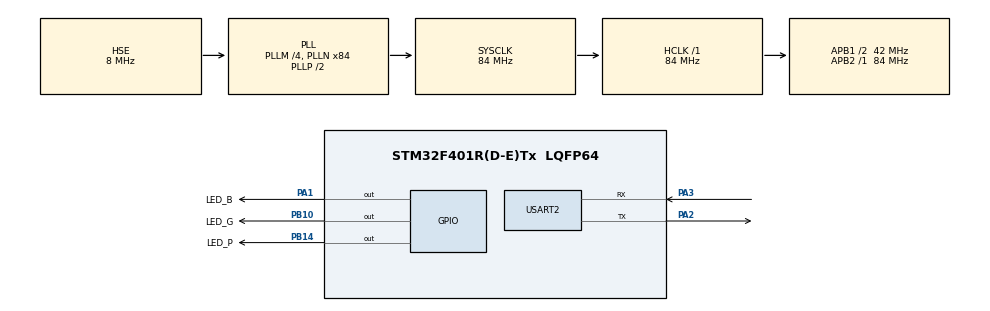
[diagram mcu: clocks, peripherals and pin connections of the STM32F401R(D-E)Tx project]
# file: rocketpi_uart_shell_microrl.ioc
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Mcu.Family=STM32F4
Mcu.Name=STM32F401R(D-E)Tx
Mcu.Package=LQFP64
NVIC.PriorityGroup=NVIC_PRIORITYGROUP_4
NVIC.USART2_IRQn=true\:0\:0\:false\:false\:true\:true\:true\:true
PA1.GPIO_Label=LED_B
PA1.PinState=GPIO_PIN_SET
PA1.Signal=GPIO_Output
PA13.Mode=Serial_Wire
PA13.Signal=SYS_JTMS-SWDIO
PA14.Mode=Serial_Wire
PA14.Signal=SYS_JTCK-SWCLK
PA2.Mode=Asynchronous
PA2.Signal=USART2_TX
PA3.Mode=Asynchronous
PA3.Signal=USART2_RX
PB10.GPIO_Label=LED_G
PB10.PinState=GPIO_PIN_SET
PB10.Signal=GPIO_Output
PB14.GPIO_Label=LED_P
PB14.PinState=GPIO_PIN_SET
PB14.Signal=GPIO_Output
PH0\ -\ OSC_IN.Mode=HSE-External-Oscillator
PH0\ -\ OSC_IN.Signal=RCC_OSC_IN
PH1\ -\ OSC_OUT.Mode=HSE-External-Oscillator
PH1\ -\ OSC_OUT.Signal=RCC_OSC_OUT
ProjectManager.HeapSize=0x800
ProjectManager.StackSize=0x800
ProjectManager.TargetToolchain=MDK-ARM V5.27
RCC.48MHZClocksFreq_Value=42000000
RCC.AHBFreq_Value=84000000
RCC.APB1CLKDivider=RCC_HCLK_DIV2
RCC.APB1Freq_Value=42000000
RCC.APB1TimFreq_Value=84000000
RCC.APB2Freq_Value=84000000
RCC.APB2TimFreq_Value=84000000
RCC.CortexFreq_Value=84000000
RCC.HCLKFreq_Value=84000000
RCC.HSE_VALUE=8000000
RCC.HSI_VALUE=16000000
RCC.LSE_VALUE=32768
RCC.PLLM=4
RCC.PLLN=84
RCC.PLLSourceVirtual=RCC_PLLSOURCE_HSE
RCC.SYSCLKFreq_VALUE=84000000
RCC.SYSCLKSource=RCC_SYSCLKSOURCE_PLLCLK
RCC.VCOOutputFreq_Value=168000000
USART2.VirtualMode=VM_ASYNC
board=custom

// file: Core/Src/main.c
/* USER CODE BEGIN Header */
/**
  ******************************************************************************
  * @file           : main.c
  * @brief          : Main program body
  ******************************************************************************
  * @attention
  *
  * Copyright (c) 2025 STMicroelectronics.
  * All rights reserved.
  *
  * This software is licensed under terms that can be found in the LICENSE file
  * in the root directory of this software component.
  * If no LICENSE file comes with this software, it is provided AS-IS.
  *
  ******************************************************************************
  */
/* USER CODE END Header */
#include "main.h"
#include "usart.h"
#include "gpio.h"

/* USER CODE BEGIN Includes */
#include "microrl.h"
#include <string.h>
/* USER CODE END Includes */

/* USER CODE BEGIN PTD */
typedef struct {
  const char *name;
  const char *description;
} shell_cmd_desc_t;

typedef struct {
  const char *name;
  GPIO_TypeDef *port;
  uint16_t pin;
} led_desc_t;
/* USER CODE END PTD */

/* USER CODE BEGIN PD */
#define SHELL_RX_BUFFER_SIZE 128U
#define ARRAY_SIZE(x) (sizeof(x) / sizeof((x)[0]))
#define LED_ON_STATE GPIO_PIN_RESET
#define LED_OFF_STATE GPIO_PIN_SET
/* USER CODE END PD */

/* USER CODE BEGIN PV */
static microrl_t s_shell;
static uint8_t s_uart2_rx;
static volatile uint8_t s_shell_rx_buffer[SHELL_RX_BUFFER_SIZE];
static volatile uint16_t s_shell_rx_head;
static volatile uint16_t s_shell_rx_tail;

static const shell_cmd_desc_t kShellCmdTable[] = {
  {"help", "List available commands"},
  {"version", "Show shell information"},
  {"echo", "Echo back the provided text"},
  {"led", "Control on-board LEDs"},
};

static const led_desc_t kLedTable[] = {
  {"blue", LED_B_GPIO_Port, LED_B_Pin},
  {"green", LED_G_GPIO_Port, LED_G_Pin},
  {"pink", LED_P_GPIO_Port, LED_P_Pin},
};

static const char *kLedActionTable[] = {"on", "off", "toggle"};
static const char *s_shell_completion[_COMMAND_TOKEN_NMB + 1];
/* USER CODE END PV */

void SystemClock_Config(void);
/* USER CODE BEGIN PFP */
static void shell_print(const char *str);
static void shell_print_line(const char *text);
static void shell_show_banner(void);
static void shell_start_rx(void);
static void shell_queue_char(uint8_t value);
static void shell_process_input(void);
static int shell_execute(int argc, const char * const * argv);
static int shell_cmd_led(int argc, const char * const * argv);
static void shell_print_led_usage(void);
static int shell_str_casecmp(const char *lhs, const char *rhs);
static const led_desc_t *shell_find_led(const char *name);
static size_t shell_add_completion(const char *candidate, size_t index);
static int shell_prefix_match(const char *token, const char *candidate);
static char **shell_complete(int argc, const char * const * argv);
/* USER CODE END PFP */

/* USER CODE BEGIN 0 */
/* 通过 USART2 输出字符串（LF 自动转换为 CRLF） */
static void shell_print(const char *str)
{
  if ((str == NULL) || (huart2.gState == HAL_UART_STATE_RESET)) {
    return;
  }
  while (*str != '\0') {
    if (*str == '\n') {
      const uint8_t newline[2] = {'\r', '\n'};
      HAL_UART_Transmit(&huart2, (uint8_t *)newline, sizeof(newline), HAL_MAX_DELAY);
    } else {
      uint8_t ch = (uint8_t)(*str);
      HAL_UART_Transmit(&huart2, &ch, 1, HAL_MAX_DELAY);
    }
    str++;
  }
}

/* 打印一行文本并追加换行 */
static void shell_print_line(const char *text)
{
  if (text != NULL) {
    shell_print(text);
  }
  shell_print(ENDL);
}

/* 输出开机提示语 */
static void shell_show_banner(void)
{
  shell_print_line("");
  shell_print_line("RocketPi USART2 microrl shell ready.");
}

/* 启动一次 USART2 中断接收 */
static void shell_start_rx(void)
{
  HAL_UART_Receive_IT(&huart2, &s_uart2_rx, 1);
}

/* 将接收的字节写入环形缓冲区 */
static void shell_queue_char(uint8_t value)
{
  uint16_t next_head = (uint16_t)((s_shell_rx_head + 1U) % SHELL_RX_BUFFER_SIZE);
  if (next_head != s_shell_rx_tail) {
    s_shell_rx_buffer[s_shell_rx_head] = value;
    s_shell_rx_head = next_head;
  }
}

/* 在主循环中解析缓冲区数据 */
static void shell_process_input(void)
{
  while (s_shell_rx_head != s_shell_rx_tail) {
    uint8_t ch = s_shell_rx_buffer[s_shell_rx_tail];
    s_shell_rx_tail = (uint16_t)((s_shell_rx_tail + 1U) % SHELL_RX_BUFFER_SIZE);
    if (ch == '\r') {
      ch = '\n';
      if (s_shell_rx_head != s_shell_rx_tail) {
        uint8_t peek = s_shell_rx_buffer[s_shell_rx_tail];
        if (peek == '\n') {
          s_shell_rx_tail = (uint16_t)((s_shell_rx_tail + 1U) % SHELL_RX_BUFFER_SIZE);
        }
      }
    }
    microrl_insert_char(&s_shell, ch);
  }
}

/* microrl 执行回调，根据命令执行功能 */
static int shell_execute(int argc, const char * const * argv)
{
  if (argc <= 0) {
    return 0;
  }

  if (strcmp(argv[0], "help") == 0) {
    shell_print_line("Available commands:");
    for (size_t i = 0; i < ARRAY_SIZE(kShellCmdTable); ++i) {
      shell_print("  ");
      shell_print(kShellCmdTable[i].name);
      shell_print(" - ");
      shell_print(kShellCmdTable[i].description);
      shell_print(ENDL);
    }
    return 0;
  }

  if (strcmp(argv[0], "version") == 0) {
    shell_print("microrl ");
    shell_print(MICRORL_LIB_VER);
    shell_print_line(" on USART2 (115200 8N1)");
    return 0;
  }

  if (strcmp(argv[0], "echo") == 0) {
    for (int i = 1; i < argc; ++i) {
      shell_print(argv[i]);
      if (i < (argc - 1)) {
        shell_print(" ");
      }
    }
    shell_print(ENDL);
    return 0;
  }

  if (strcmp(argv[0], "led") == 0) {
    return shell_cmd_led(argc, argv);
  }

  shell_print("Unknown command: ");
  shell_print(argv[0]);
  shell_print(ENDL);
  shell_print_line("Type 'help' to list commands.");
  return 0;
}

/* LED 命令：led <颜色> <on|off|toggle> */
static int shell_cmd_led(int argc, const char * const * argv)
{
  if (argc < 3) {
    shell_print_led_usage();
    return -1;
  }

  const led_desc_t *led = shell_find_led(argv[1]);
  if (led == NULL) {
    shell_print("Unknown LED name: ");
    shell_print(argv[1]);
    shell_print(ENDL);
    shell_print_led_usage();
    return -1;
  }

  const char *action = argv[2];
  if (shell_str_casecmp(action, "on") == 0) {
    HAL_GPIO_WritePin(led->port, led->pin, LED_ON_STATE);
    shell_print("LED ");
    shell_print(led->name);
    shell_print_line(" is ON");
    return 0;
  }

  if (shell_str_casecmp(action, "off") == 0) {
    HAL_GPIO_WritePin(led->port, led->pin, LED_OFF_STATE);
    shell_print("LED ");
    shell_print(led->name);
    shell_print_line(" is OFF");
    return 0;
  }

  if (shell_str_casecmp(action, "toggle") == 0) {
    HAL_GPIO_TogglePin(led->port, led->pin);
    shell_print("LED ");
    shell_print(led->name);
    shell_print_line(" toggled");
    return 0;
  }

  shell_print("Unknown LED action: ");
  shell_print(action);
  shell_print(ENDL);
  shell_print_led_usage();
  return -1;
}

/* 打印 LED 命令可选参数 */
static void shell_print_led_usage(void)
{
  shell_print_line("Usage: led <blue|green|pink> <on|off|toggle>");
}

/* 忽略大小写比较字符串 */
static int shell_str_casecmp(const char *lhs, const char *rhs)
{
  while ((*lhs != '\0') && (*rhs != '\0')) {
    char lc = (*lhs >= 'A' && *lhs <= 'Z') ? (char)(*lhs + ('a' - 'A')) : *lhs;
    char rc = (*rhs >= 'A' && *rhs <= 'Z') ? (char)(*rhs + ('a' - 'A')) : *rhs;
    if (lc != rc) {
      return (int)(lc - rc);
    }
    ++lhs;
    ++rhs;
  }
  return (int)((unsigned char)*lhs - (unsigned char)*rhs);
}

/* 在 LED 描述表中查找指定名称 */
static const led_desc_t *shell_find_led(const char *name)
{
  for (size_t i = 0; i < ARRAY_SIZE(kLedTable); ++i) {
    if (shell_str_casecmp(name, kLedTable[i].name) == 0) {
      return &kLedTable[i];
    }
  }
  return NULL;
}

/* 把候选词添加到补全数组 */
static size_t shell_add_completion(const char *candidate, size_t index)
{
  if ((candidate != NULL) && (index < (ARRAY_SIZE(s_shell_completion) - 1U))) {
    s_shell_completion[index++] = candidate;
  }
  return index;
}

/* 判断 token 是否是候选词的前缀 */
static int shell_prefix_match(const char *token, const char *candidate)
{
  if ((token == NULL) || (*token == '\0')) {
    return 1;
  }
  size_t prefix_len = strlen(token);
  return strncmp(candidate, token, prefix_len) == 0;
}

/* TAB 自动补全回调 */
static char **shell_complete(int argc, const char * const * argv)
{
  size_t idx = 0;
  memset((void *)s_shell_completion, 0, sizeof(s_shell_completion));

  const char *current = "";
  if (argc > 0) {
    current = argv[argc - 1];
    if (current == NULL) {
      current = "";
    }
  }

  if (argc <= 1) {
    for (size_t i = 0; i < ARRAY_SIZE(kShellCmdTable); ++i) {
      const char *name = kShellCmdTable[i].name;
      if (shell_prefix_match(current, name)) {
        idx = shell_add_completion(name, idx);
      }
    }
    return (char **)s_shell_completion;
  }

  if (strcmp(argv[0], "led") != 0) {
    return (char **)s_shell_completion;
  }

  if (argc == 2) {
    for (size_t i = 0; i < ARRAY_SIZE(kLedTable); ++i) {
      if (shell_prefix_match(current, kLedTable[i].name)) {
        idx = shell_add_completion(kLedTable[i].name, idx);
      }
    }
  } else if (argc == 3) {
    for (size_t i = 0; i < ARRAY_SIZE(kLedActionTable); ++i) {
      if (shell_prefix_match(current, kLedActionTable[i])) {
        idx = shell_add_completion(kLedActionTable[i], idx);
      }
    }
  }

  return (char **)s_shell_completion;
}
/* USER CODE END 0 */

int main(void)
{
  HAL_Init();
  SystemClock_Config();
  MX_GPIO_Init();
  MX_USART2_UART_Init();

  shell_show_banner();
  microrl_init(&s_shell, shell_print);
  microrl_set_execute_callback(&s_shell, shell_execute);
  microrl_set_complete_callback(&s_shell, shell_complete);
  shell_start_rx();

  while (1)
  {
    shell_process_input();
  }
}

void SystemClock_Config(void)
{
  RCC_OscInitTypeDef RCC_OscInitStruct = {0};
  RCC_ClkInitTypeDef RCC_ClkInitStruct = {0};

  __HAL_RCC_PWR_CLK_ENABLE();
  __HAL_PWR_VOLTAGESCALING_CONFIG(PWR_REGULATOR_VOLTAGE_SCALE2);

  RCC_OscInitStruct.OscillatorType = RCC_OSCILLATORTYPE_HSE;
  RCC_OscInitStruct.HSEState = RCC_HSE_ON;
  RCC_OscInitStruct.PLL.PLLState = RCC_PLL_ON;
  RCC_OscInitStruct.PLL.PLLSource = RCC_PLLSOURCE_HSE;
  RCC_OscInitStruct.PLL.PLLM = 4;
  RCC_OscInitStruct.PLL.PLLN = 84;
  RCC_OscInitStruct.PLL.PLLP = RCC_PLLP_DIV2;
  RCC_OscInitStruct.PLL.PLLQ = 4;
  if (HAL_RCC_OscConfig(&RCC_OscInitStruct) != HAL_OK)
  {
    Error_Handler();
  }

  RCC_ClkInitStruct.ClockType = RCC_CLOCKTYPE_HCLK|RCC_CLOCKTYPE_SYSCLK
                              |RCC_CLOCKTYPE_PCLK1|RCC_CLOCKTYPE_PCLK2;
  RCC_ClkInitStruct.SYSCLKSource = RCC_SYSCLKSOURCE_PLLCLK;
  RCC_ClkInitStruct.AHBCLKDivider = RCC_SYSCLK_DIV1;
  RCC_ClkInitStruct.APB1CLKDivider = RCC_HCLK_DIV2;
  RCC_ClkInitStruct.APB2CLKDivider = RCC_HCLK_DIV1;

  if (HAL_RCC_ClockConfig(&RCC_ClkInitStruct, FLASH_LATENCY_2) != HAL_OK)
  {
    Error_Handler();
  }
}

/* USER CODE BEGIN 4 */
/* UART 接收完成回调：收集数据并继续接收 */
void HAL_UART_RxCpltCallback(UART_HandleTypeDef *huart)
{
  if (huart->Instance == USART2) {
    shell_queue_char(s_uart2_rx);
    shell_start_rx();
  }
}

/* UART 出错回调：重启接收以保持 shell 可用 */
void HAL_UART_ErrorCallback(UART_HandleTypeDef *huart)
{
  if (huart->Instance == USART2) {
    shell_start_rx();
  }
}
/* USER CODE END 4 */

void Error_Handler(void)
{
  __disable_irq();
  while (1)
  {
  }
}
